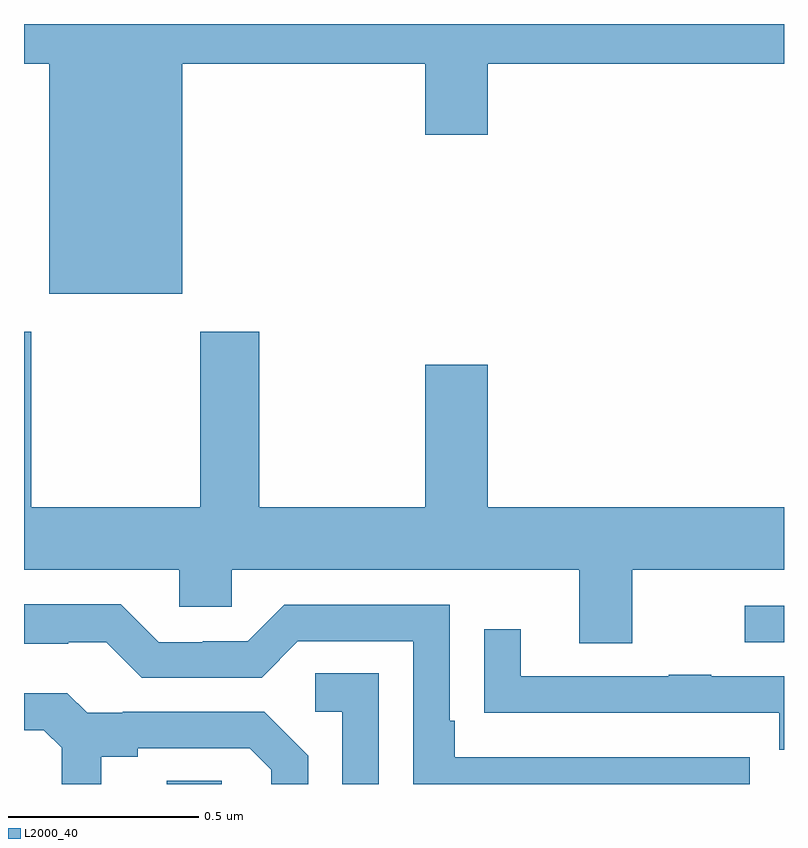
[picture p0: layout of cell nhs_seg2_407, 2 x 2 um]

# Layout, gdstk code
import gdstk
lib = gdstk.Library(unit=1e-6, precision=1e-09)
def R(c, l, rs):  # rectangles x0, y0, x1, y1
    for r in rs: c.add(gdstk.rectangle(r[:2], r[2:], *l))
def P(c, l, *ps):  # polygons
    for p in ps: c.add(gdstk.Polygon(p, *l))
L2000_40 = (2000, 40)

nhs_seg2_407 = lib.new_cell('nhs_seg2_407')
R(nhs_seg2_407, L2000_40, [(116.375,585.8,116.52,585.809), (117.897,586.173,118,586.269)])
P(nhs_seg2_407, L2000_40, [(116.416,587.696),(117.056,587.696),(117.056,587.508),(117.22,587.508),(117.22,587.696),(118,587.696),(118,587.8),(116,587.8),(116,587.696),(116.066,587.696),(116.066,587.09),(116.416,587.09)],
  [(117.601,586.364),(118,586.364),(118,586.528),(117.22,586.528),(117.22,586.903),(117.056,586.903),(117.056,586.528),(116.619,586.528),(116.619,586.99),(116.464,586.99),(116.464,586.528),(116.019,586.528),(116.019,586.99),(116,586.99),(116,586.364),(116.409,586.364),(116.409,586.266),(116.547,586.266),(116.547,586.364),(117.461,586.364),(117.461,586.17),(117.601,586.17)],
  [(117.91,585.87),(117.133,585.87),(117.133,585.967),(117.12,585.967),(117.12,586.272),(116.685,586.272),(116.589,586.176),(116.471,586.176),(116.471,586.173),(116.355,586.173),(116.255,586.273),(116,586.273),(116,586.169),(116.117,586.169),(116.117,586.173),(116.217,586.173),(116.31,586.08),(116.625,586.08),(116.721,586.176),(117.024,586.176),(117.024,585.8),(117.91,585.8)],
  [(118,586.083),(117.809,586.083),(117.809,586.088),(117.697,586.088),(117.697,586.083),(117.307,586.083),(117.307,586.207),(117.211,586.207),(117.211,585.988),(117.313,585.988),(117.313,585.987),(117.988,585.987),(117.988,585.89),(118,585.89)],
  [(116.934,586.091),(116.766,586.091),(116.766,585.99),(116.838,585.99),(116.838,585.8),(116.934,585.8)],
  [(116.203,585.872),(116.299,585.872),(116.299,585.894),(116.594,585.894),(116.651,585.837),(116.651,585.8),(116.748,585.8),(116.748,585.874),(116.632,585.99),(116.26,585.99),(116.26,585.987),(116.166,585.987),(116.114,586.039),(116,586.039),(116,585.942),(116.052,585.942),(116.099,585.895),(116.099,585.8),(116.203,585.8)])

lib.write_gds('nhs_seg2_407.gds')
